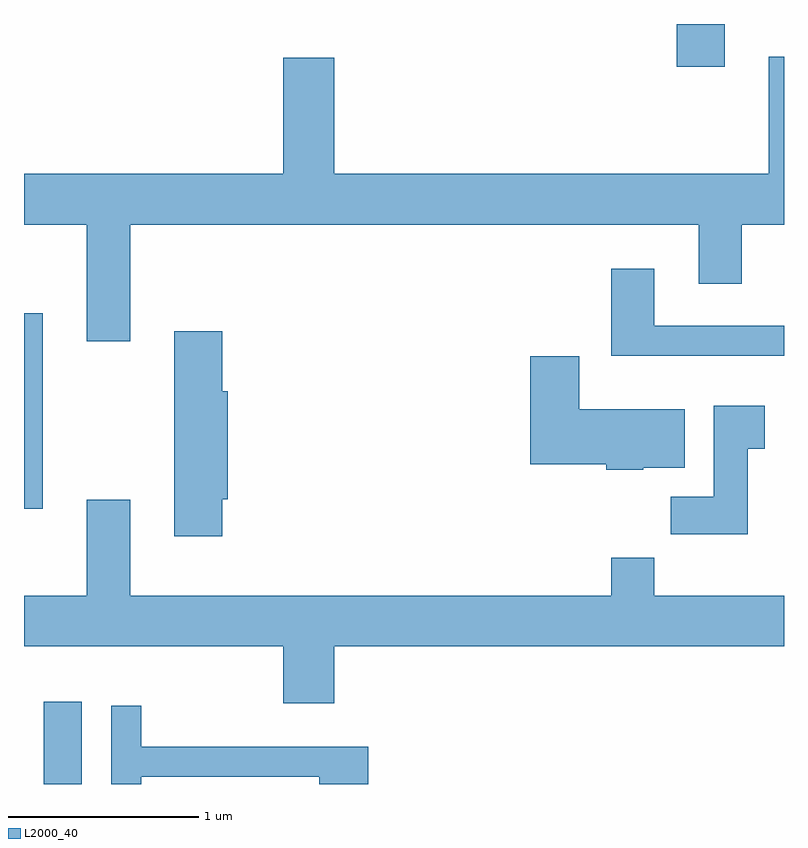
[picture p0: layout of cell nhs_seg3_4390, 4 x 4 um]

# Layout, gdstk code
import gdstk
lib = gdstk.Library(unit=1e-6, precision=1e-09)
def R(c, l, rs):  # rectangles x0, y0, x1, y1
    for r in rs: c.add(gdstk.rectangle(r[:2], r[2:], *l))
def P(c, l, *ps):  # polygons
    for p in ps: c.add(gdstk.Polygon(p, *l))
L2000_40 = (2000, 40)

nhs_seg3_4390 = lib.new_cell('nhs_seg3_4390')
R(nhs_seg3_4390, L2000_40, [(313.716,1191.892,313.914,1192.324), (313.611,1193.341,313.709,1194.369), (317.046,1195.666,317.299,1195.892)])
P(nhs_seg3_4390, L2000_40, [(314.169,1194.836),(317.161,1194.836),(317.161,1194.526),(317.389,1194.526),(317.389,1194.836),(317.611,1194.836),(317.611,1195.719),(317.531,1195.719),(317.531,1195.104),(315.244,1195.104),(315.244,1195.714),(314.976,1195.714),(314.976,1195.104),(313.611,1195.104),(313.611,1194.836),(313.941,1194.836),(313.941,1194.221),(314.169,1194.221)],
  [(317.611,1194.304),(316.929,1194.304),(316.929,1194.604),(316.701,1194.604),(316.701,1194.146),(317.611,1194.146)],
  [(314.654,1193.391),(314.684,1193.391),(314.684,1193.959),(314.654,1193.959),(314.654,1194.274),(314.401,1194.274),(314.401,1193.196),(314.654,1193.196)],
  [(316.87,1193.556),(317.089,1193.556),(317.089,1193.864),(316.534,1193.864),(316.534,1194.144),(316.276,1194.144),(316.276,1193.576),(316.676,1193.576),(316.676,1193.546),(316.87,1193.546)],
  [(317.419,1193.656),(317.509,1193.656),(317.509,1193.884),(317.241,1193.884),(317.241,1193.404),(317.016,1193.404),(317.016,1193.206),(317.419,1193.206)],
  [(315.244,1192.616),(317.611,1192.616),(317.611,1192.884),(316.929,1192.884),(316.929,1193.084),(316.701,1193.084),(316.701,1192.884),(314.169,1192.884),(314.169,1193.389),(313.941,1193.389),(313.941,1192.884),(313.611,1192.884),(313.611,1192.616),(314.976,1192.616),(314.976,1192.316),(315.244,1192.316)],
  [(314.229,1191.931),(315.166,1191.931),(315.166,1191.892),(315.424,1191.892),(315.424,1192.089),(314.229,1192.089),(314.229,1192.303),(314.071,1192.303),(314.071,1191.892),(314.229,1191.892)])

lib.write_gds('nhs_seg3_4390.gds')
